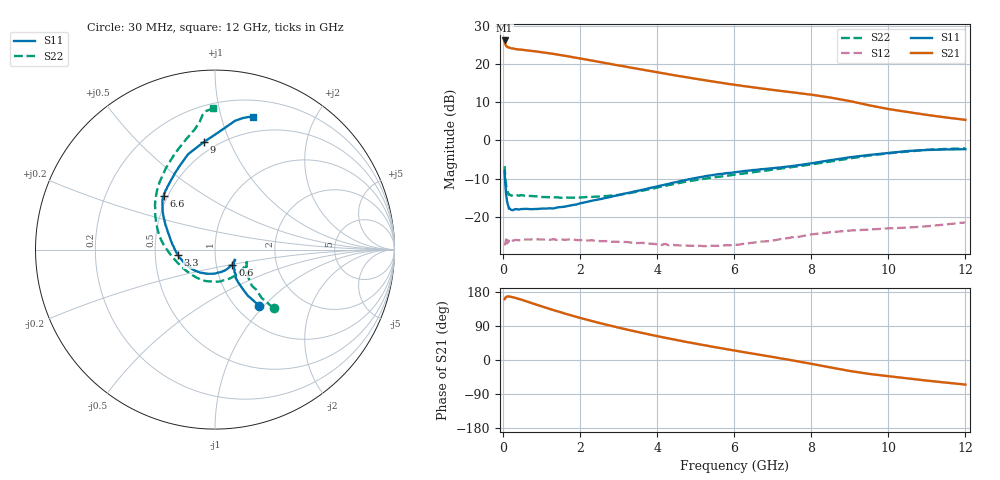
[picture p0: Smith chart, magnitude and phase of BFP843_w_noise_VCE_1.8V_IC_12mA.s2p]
! Infineon Technologies  Discrete & RF Semiconductors
! BFP843
! VCE =  1.8 V,  IC =  12 mA
! Common Emitter S-Parameters:  Aug 2013
# GHz  S  MA  R  50
!  f  S11  S21  S12  S22
! GHz  MAG  ANG  MAG  ANG  MAG  ANG  MAG  ANG
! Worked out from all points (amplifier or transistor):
!   103 points, 30 MHz to 12 GHz, reference 50 ohm
!   highest |S21| = 26.1 dB at 30 MHz (marker M1)
!   |S21| within 3 dB of that: start of sweep to 939.2 MHz
!   unconditionally stable (mu >= 1): 99.54 MHz to 101.8 MHz; 123.8 MHz to 138.2 MHz; 161.9 MHz to 10.89 GHz
!   at 400 MHz: K = 1.02, MAG = 24.0 dB, |S12| = -26.1 dB
!   at 3.7 GHz: K = 1.36, MAG = 19.1 dB, |S12| = -26.9 dB
!   at 12 GHz: K = 0.85, MSG = 13.4 dB, |S12| = -21.4 dB
!   lowest NFmin = 0.94 dB at 450 MHz
!   S11 on the Smith chart (normalised r, x): 30 MHz: 1.26, -0.94; 600 MHz: 1.20, -0.20; 3.3 GHz: 0.66, -0.04; 6.6 GHz: 0.48, +0.34; 9 GHz: 0.43, +0.80; 12 GHz: 0.35, +1.26
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0.03  0.3975 -51.8  20.25 160.7  0.0424 29.3  0.4613 -45.0
0.04  0.3123 -54.6  18.83 162.1  0.044 23.3  0.3744 -46.0
0.05  0.2662 -54.8  18.06 164.7  0.0443 21.2  0.3173 -44.2
0.07  0.1942 -53.9  17.1 166.3  0.051 14.0  0.2569 -41.6
0.13  0.1372 -40.0  16.45 167.9  0.0473 6.0  0.1976 -29.3
0.3  0.1265 -27.1  15.66 164.2  0.05 3.7  0.1895 -22.0
0.6  0.1277 -40.8  15.03 154.7  0.0507 0.5  0.1889 -32.1
0.9  0.1273 -58.1  14.42 144.6  0.0509 -0.7  0.1852 -45.8
1.3  0.1289 -82.4  13.5 131.6  0.0511 -2.6  0.1803 -65.7
1.7  0.1398 -105.6  12.51 119.5  0.0508 -4.3  0.179 -84.6
2.1  0.1545 -126.1  11.52 108.1  0.0501 -6.1  0.1809 -103.0
2.7  0.1791 -151.1  10.15 92.5  0.0483 -7.9  0.1879 -128.0
3.3  0.2086 -172.0  8.953 78.2  0.0464 -8.4  0.2058 -150.6
4.1  0.2577 166.0  7.611 60.8  0.0431 -8.7  0.2488 -173.4
5  0.3234 150.4  6.389 43.0  0.042 -4.3  0.3034 170.3
6.1  0.3886 138.9  5.257 23.3  0.0434 2.7  0.3616 155.1
6.6  0.4142 133.5  4.854 14.7  0.0468 4.8  0.391 148.6
7.6  0.4696 119.7  4.196 -2.7  0.055 6.3  0.4555 135.5
8.5  0.552 105.8  3.627 -19.7  0.0631 2.6  0.53 121.1
9  0.6023 96.0  3.265 -29.0  0.0664 -0.5  0.5819 112.4
10.5  0.7269 81.1  2.352 -48.5  0.0726 -6.8  0.7155 96.9
12  0.7671 74.1  1.858 -64.9  0.0849 -13.4  0.7867 90.9
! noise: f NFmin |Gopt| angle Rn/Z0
0.45  0.94  0.04  5  0.02
0.9  0.95  0.04  16  0.05
1.5  0.97  0.04  24  0.11
1.9  0.99  0.04  34  0.18
2.4  1.02  0.03  44  0.24
3.5  1.07  0.01  58  0.27
5.5  1.19  0.18  -121  0.33
10  1.8  0.5  -65  0.45
